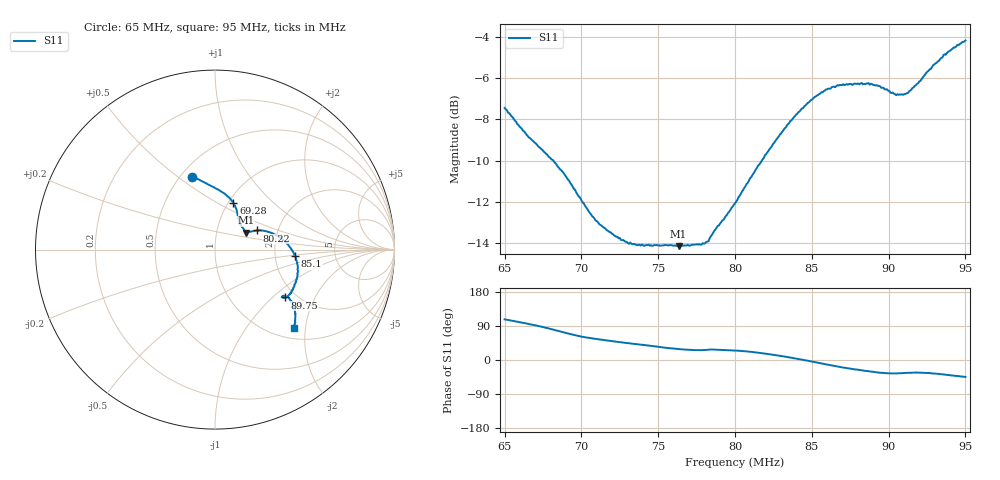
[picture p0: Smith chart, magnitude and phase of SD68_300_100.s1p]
! NanoVNA-App
! Date: 2025-08-09 13:26:48
! Start: 65MHz Stop: 95MHz Points: 401
! S-Parameter data: F S11
# Hz S RI R 50
!  Frequency  S11_Real  S11_Imag
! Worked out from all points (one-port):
!   401 points, 65 MHz to 95 MHz, reference 50 ohm
!   lowest |S11| = -14.2 dB at 76.33 MHz (marker M1), VSWR 1.49, Z = 69.1 + j13.6 ohm
!   |S11| at or under -10 dB: 68.17 MHz to 81.75 MHz (13.57 MHz wide, 18.1 % of centre)
!   S11 on the Smith chart (normalised r, x): 65 MHz: 0.57, +0.57; 69.28 MHz: 1.06, +0.59; 80.22 MHz: 1.56, +0.36; 85.1 MHz: 2.60, -0.25; 89.75 MHz: 1.75, -1.20; 95 MHz: 1.23, -1.73
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6.5e7  -0.1265 0.4053
6.7625e7  0.0261 0.3297
6.875e7  0.0813 0.2863
6.9275e7  0.1025 0.2593
6.995e7  0.1192 0.226
7.085e7  0.127 0.19
7.25e7  0.1392 0.1506
7.37e7  0.148 0.1301
7.625e7  0.1716 0.0964
7.6325e7  0.1713 0.0948
7.8125e7  0.1792 0.0897
8e7  0.2259 0.1049
8.0225e7  0.2342 0.1067
8.1125e7  0.2715 0.1054
8.21e7  0.3182 0.0915
8.3e7  0.3619 0.0673
8.375e7  0.3979 0.0375
8.51e7  0.4469 -0.0377
8.6225e7  0.4599 -0.1124
8.75e7  0.4479 -0.1877
8.87e7  0.4235 -0.2426
8.975e7  0.3885 -0.2664
9.05e7  0.3712 -0.265
9.125e7  0.3829 -0.2576
9.2e7  0.4124 -0.2694
9.305e7  0.442 -0.3192
9.38e7  0.4479 -0.3647
9.5e7  0.441 -0.4355
